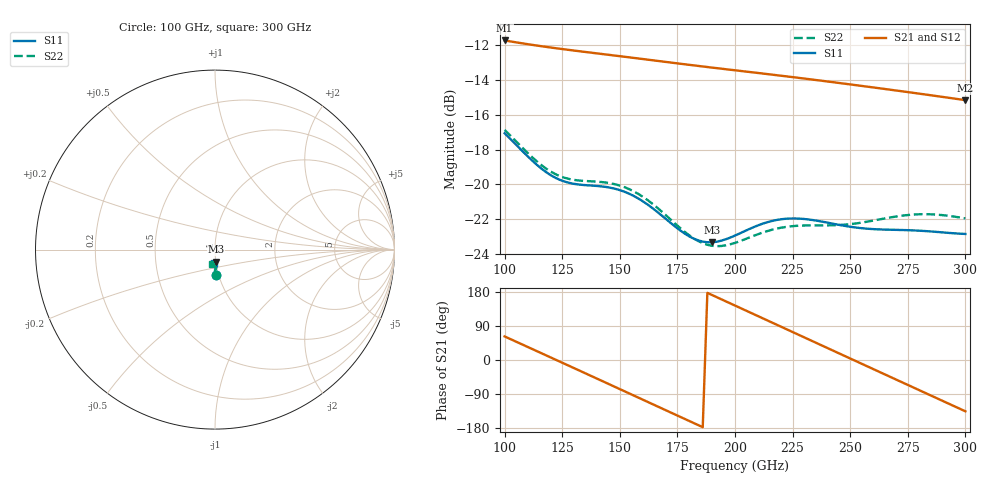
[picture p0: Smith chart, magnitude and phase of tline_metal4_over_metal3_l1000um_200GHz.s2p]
#  GHZ S DB R 50
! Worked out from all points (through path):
!   101 points, 100 GHz to 300 GHz, reference 50 ohm
!   highest |S21| = -11.74 dB at 100 GHz (marker M1); lowest = -15.2 dB at 300 GHz (marker M2)
!   group delay of S21, straight-line fit = 7.75 ps
!   lowest |S11| = -23.3 dB at 190 GHz (marker M3), VSWR 1.15, Z = 50 - j6.84 ohm
!   |S11| at or under -10 dB: start of sweep to end of sweep
!   |S22| runs from -23.5 to -16.9 dB; largest |S21 - S12| = 2.8e-13
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100  -17.07 -87.8  -11.74 62.2  -11.74 62.2  -16.87 -86.7
110  -18.39 -90.1  -11.96 34.5  -11.96 34.5  -18.19 -89.0
118  -19.29 -89.3  -12.11 12.3  -12.11 12.3  -19.09 -88.3
126  -19.84 -87.4  -12.25 -9.9  -12.25 -9.9  -19.62 -86.5
134  -20.03 -86.4  -12.39 -32.2  -12.39 -32.2  -19.79 -85.7
144  -20.15 -87.8  -12.55 -60.0  -12.55 -60.0  -19.89 -87.5
152  -20.42 -90.6  -12.68 -82.4  -12.68 -82.4  -20.16 -90.6
160  -20.97 -93.4  -12.81 -104.7  -12.81 -104.7  -20.71 -94.0
168  -21.76 -94.7  -12.94 -127.1  -12.94 -127.1  -21.53 -96.0
180  -22.97 -91.8  -13.14 -160.5  -13.14 -160.5  -22.91 -94.3
190  -23.32 -86.0  -13.30 171.6  -13.30 171.6  -23.52 -88.6
200  -22.93 -81.8  -13.45 143.7  -13.45 143.7  -23.35 -83.5
210  -22.35 -81.7  -13.61 115.8  -13.61 115.8  -22.85 -81.9
218  -22.04 -83.7  -13.73 93.4  -13.73 93.4  -22.54 -82.8
226  -21.95 -86.4  -13.86 71.1  -13.86 71.1  -22.38 -84.3
234  -22.05 -88.8  -13.99 48.7  -13.99 48.7  -22.35 -85.7
242  -22.24 -90.3  -14.13 26.3  -14.13 26.3  -22.34 -86.6
250  -22.43 -91.1  -14.26 4.0  -14.26 4.0  -22.28 -87.3
258  -22.54 -91.5  -14.40 -18.3  -14.40 -18.3  -22.12 -88.1
268  -22.60 -92.0  -14.58 -46.2  -14.58 -46.2  -21.88 -90.2
284  -22.69 -93.5  -14.87 -90.9  -14.87 -90.9  -21.71 -95.6
300  -22.84 -94.3  -15.17 -135.4  -15.17 -135.4  -21.95 -100.9
